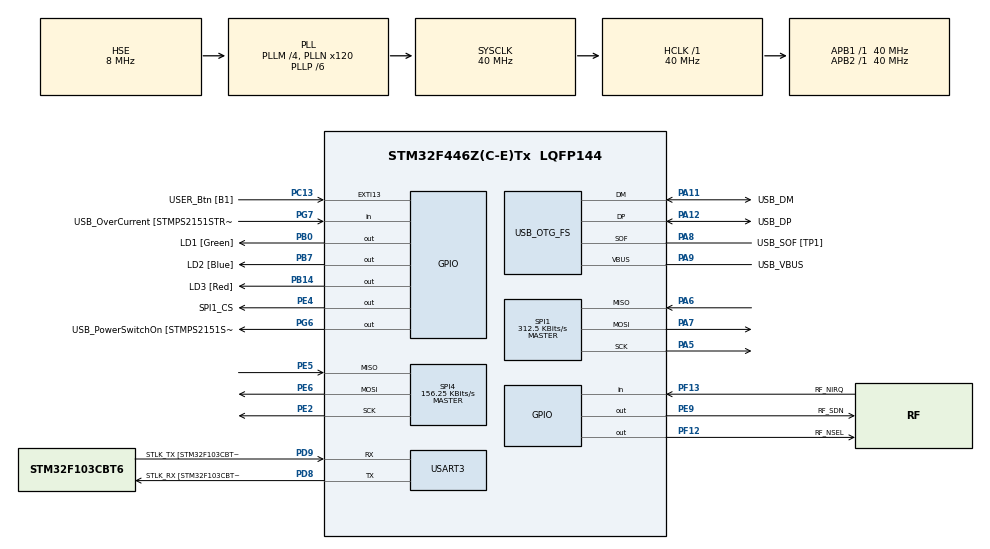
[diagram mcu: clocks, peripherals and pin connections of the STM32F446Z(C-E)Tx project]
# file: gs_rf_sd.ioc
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FATFS._USE_LFN=1
Mcu.Family=STM32F4
Mcu.Name=STM32F446Z(C-E)Tx
Mcu.Package=LQFP144
NVIC.PriorityGroup=NVIC_PRIORITYGROUP_4
PA10.GPIO_Label=USB_ID
PA10.Signal=USB_OTG_FS_ID
PA11.GPIO_Label=USB_DM
PA11.Mode=Device_Only
PA11.Signal=USB_OTG_FS_DM
PA12.GPIO_Label=USB_DP
PA12.Mode=Device_Only
PA12.Signal=USB_OTG_FS_DP
PA13.GPIO_Label=TMS
PA13.Mode=Serial_Wire
PA13.Signal=SYS_JTMS-SWDIO
PA14.GPIO_Label=TCK
PA14.Mode=Serial_Wire
PA14.Signal=SYS_JTCK-SWCLK
PA5.Mode=Full_Duplex_Master
PA5.Signal=SPI1_SCK
PA6.Mode=Full_Duplex_Master
PA6.Signal=SPI1_MISO
PA7.Mode=Full_Duplex_Master
PA7.Signal=SPI1_MOSI
PA8.GPIO_Label=USB_SOF [TP1]
PA8.Mode=Activate_SOF_FS
PA8.Signal=USB_OTG_FS_SOF
PA9.GPIO_Label=USB_VBUS
PA9.Mode=Activate_VBUS
PA9.Signal=USB_OTG_FS_VBUS
PB0.GPIO_Label=LD1 [Green]
PB0.Signal=GPIO_Output
PB14.GPIO_Label=LD3 [Red]
PB14.Signal=GPIO_Output
PB7.GPIO_Label=LD2 [Blue]
PB7.Signal=GPIO_Output
PC13.GPIO_Label=USER_Btn [B1]
PC13.Signal=GPXTI13
PC14-OSC32_IN.Mode=LSE-External-Oscillator
PC14-OSC32_IN.Signal=RCC_OSC32_IN
PC15-OSC32_OUT.Mode=LSE-External-Oscillator
PC15-OSC32_OUT.Signal=RCC_OSC32_OUT
PD8.GPIO_Label=STLK_RX [STM32F103CBT6_PA3]
PD8.Mode=Asynchronous
PD8.Signal=USART3_TX
PD9.GPIO_Label=STLK_TX [STM32F103CBT6_PA2]
PD9.Mode=Asynchronous
PD9.Signal=USART3_RX
PE2.Mode=Full_Duplex_Master
PE2.Signal=SPI4_SCK
PE4.GPIO_Label=SPI1_CS
PE4.Signal=GPIO_Output
PE5.Mode=Full_Duplex_Master
PE5.Signal=SPI4_MISO
PE6.Mode=Full_Duplex_Master
PE6.Signal=SPI4_MOSI
PE9.GPIO_Label=RF_SDN
PE9.Signal=GPIO_Output
PF12.GPIO_Label=RF_NSEL
PF12.GPIO_Speed=GPIO_SPEED_FREQ_HIGH
PF12.PinState=GPIO_PIN_SET
PF12.Signal=GPIO_Output
PF13.GPIO_Label=RF_NIRQ
PF13.GPIO_PuPd=GPIO_PULLUP
PF13.Signal=GPIO_Input
PG6.GPIO_Label=USB_PowerSwitchOn [STMPS2151STR_EN]
PG6.Signal=GPIO_Output
PG7.GPIO_Label=USB_OverCurrent [STMPS2151STR_FAULT]
PG7.Signal=GPIO_Input
PH0-OSC_IN.GPIO_Label=MCO [STM32F103CBT6_PA8]
PH0-OSC_IN.Mode=HSE-External-Clock-Source
PH0-OSC_IN.Signal=RCC_OSC_IN
PH1-OSC_OUT.Mode=HSE-External-Clock-Source
PH1-OSC_OUT.Signal=RCC_OSC_OUT
ProjectManager.HeapSize=0x200
ProjectManager.StackSize=0x400
ProjectManager.TargetToolchain=STM32CubeIDE
RCC.48MHZClocksFreq_Value=24000000
RCC.AHBFreq_Value=40000000
RCC.APB1Freq_Value=40000000
RCC.APB1TimFreq_Value=40000000
RCC.APB2Freq_Value=40000000
RCC.APB2TimFreq_Value=40000000
RCC.CortexFreq_Value=40000000
RCC.HCLKFreq_Value=40000000
RCC.HSE_VALUE=8000000
RCC.HSI_VALUE=16000000
RCC.PLLM=4
RCC.PLLMUL=RCC_PLL_MUL9
RCC.PLLN=120
RCC.PLLP=RCC_PLLP_DIV6
RCC.PLLQ=5
RCC.PRESCALERUSB=RCC_USBCLKSOURCE_PLL_DIV1_5
RCC.SYSCLKFreq_VALUE=40000000
RCC.SYSCLKSource=RCC_SYSCLKSOURCE_PLLCLK
RCC.SYSCLKSourceVirtual=RCC_SYSCLKSOURCE_PLLCLK
RCC.USBFreq_Value=48000000
RCC.VCOOutputFreq_Value=240000000
SPI1.BaudRatePrescaler=SPI_BAUDRATEPRESCALER_128
SPI1.CalculateBaudRate=312.5 KBits/s
SPI1.Direction=SPI_DIRECTION_2LINES
SPI1.Mode=SPI_MODE_MASTER
SPI1.VirtualType=VM_MASTER
SPI4.BaudRatePrescaler=SPI_BAUDRATEPRESCALER_256
SPI4.CalculateBaudRate=156.25 KBits/s
SPI4.Direction=SPI_DIRECTION_2LINES
SPI4.Mode=SPI_MODE_MASTER
SPI4.VirtualType=VM_MASTER
USART3.VirtualMode=VM_ASYNC
USB_OTG_FS.VirtualMode=Device_Only
VP_FATFS_VS_Generic.Mode=User_defined
board=NUCLEO-F446ZE

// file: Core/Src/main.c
/* USER CODE BEGIN Header */
/**
  ******************************************************************************
  * @file           : main.c
  * @brief          : Main program body
  ******************************************************************************
  * @attention
  *
  * Copyright (c) 2025 STMicroelectronics.
  * All rights reserved.
  *
  * This software is licensed under terms that can be found in the LICENSE file
  * in the root directory of this software component.
  * If no LICENSE file comes with this software, it is provided AS-IS.
  *
  ******************************************************************************
  */
/* USER CODE END Header */
#include "main.h"
#include "fatfs.h"

/* USER CODE BEGIN Includes */

#include "rf4463.h"
#include "debug_uart.h"
#include "ax25_protocol.h"
#include "receiver_app.h"

/* USER CODE END Includes */

/* USER CODE BEGIN PD */

UART_HandleTypeDef DEBUG_UART_HANDLE;

/* USER CODE END PD */

SPI_HandleTypeDef hspi1;
SPI_HandleTypeDef hspi4;

UART_HandleTypeDef huart3;

PCD_HandleTypeDef hpcd_USB_OTG_FS;

/* USER CODE BEGIN PV */

RF4463_HandleTypeDef hrf;

UART_HandleTypeDef DEBUG_UART_HANDLE;

/* USER CODE END PV */

void SystemClock_Config(void);
static void MX_GPIO_Init(void);
static void MX_USART3_UART_Init(void);
static void MX_USB_OTG_FS_PCD_Init(void);
static void MX_SPI1_Init(void);
static void MX_SPI4_Init(void);

int main(void)
{
  /* USER CODE BEGIN 1 */
  bool initialized = false;
  /* USER CODE END 1 */

  /* MCU Configuration--------------------------------------------------------*/

  /* Reset of all peripherals, Initializes the Flash interface and the Systick. */
  HAL_Init();

  /* Configure the system clock */
  SystemClock_Config();

  /* Initialize all configured peripherals */
  MX_GPIO_Init();
  MX_USART3_UART_Init();
  MX_USB_OTG_FS_PCD_Init();
  MX_SPI1_Init();
  MX_SPI4_Init();
  MX_FATFS_Init();
  /* USER CODE BEGIN 2 */

  DEBUG_UART_HANDLE = huart3;  // Change if using different UART

  // Enable debug prints
  debug_uart_set_enable(true);

  HAL_Delay(2000);  // Wait for serial monitor

  myprintf("\r\n~ SD card demo by kiwih ~\r\n\r\n");

  HAL_Delay(2000); //a short delay is important to let the SD card settle

  //some variables for FatFs
  FATFS FatFs; 	//Fatfs handle
  FIL fil; 		//File handle
  FRESULT fres; //Result after operations

  //Open the file system
  fres = f_mount(&FatFs, "", 1); //1=mount now
  if (fres != FR_OK) {
	myprintf("f_mount error (%i)\r\n", fres);
	//while(1);
  }

  //Let's get some statistics from the SD card
  DWORD free_clusters, free_sectors, total_sectors;

  FATFS* getFreeFs;

  fres = f_getfree("", &free_clusters, &getFreeFs);
  if (fres != FR_OK) {
	myprintf("f_getfree error (%i)\r\n", fres);
	//while(1);
  }

  //Formula comes from ChaN's documentation
  total_sectors = (getFreeFs->n_fatent - 2) * getFreeFs->csize;
  free_sectors = free_clusters * getFreeFs->csize;

  myprintf("SD card stats:\r\n%10lu KiB total drive space.\r\n%10lu KiB available.\r\n", total_sectors / 2, free_sectors / 2);
  HAL_Delay(1000);

  // ========== NOW YOUR RF MODULE CODE STARTS ==========
  myprintf("\r\n");
  myprintf("========================================\r\n");
  myprintf("    RF4463 STM32 Initialization\r\n");
  myprintf("========================================\r\n");
  myprintf("\r\n");

  /* Configure RF4463 handle with your pin definitions from main.h */
  hrf.hspi = &hspi1;                       // Your SPI instance (SPI1)
  hrf.nSEL_GPIO_Port = RF_NSEL_GPIO_Port;  // From main.h
  hrf.nSEL_Pin = RF_NSEL_Pin;              // From main.h
  hrf.sdn_GPIO_Port = RF_SDN_GPIO_Port;    // From main.h
  hrf.sdn_Pin = RF_SDN_Pin;                // From main.h
  hrf.nIRQ_GPIO_Port = RF_NIRQ_GPIO_Port;  // From main.h
  hrf.nIRQ_Pin = RF_NIRQ_Pin;              // From main.h

  // ============ ADD THIS DIAGNOSTIC CODE HERE ============
  myprintf("\r\n=== HARDWARE DIAGNOSTIC ===\r\n");

  /* 1. Check GPIO states */
  myprintf("\n1. GPIO Pin States:\n");
  myprintf("   RF_NSEL (PF%d): %d (debe ser 1)\n",
           RF_NSEL_Pin,
           HAL_GPIO_ReadPin(RF_NSEL_GPIO_Port, RF_NSEL_Pin));
  myprintf("   RF_SDN  (PE%d): %d (debe ser 0)\n",
           RF_SDN_Pin,
           HAL_GPIO_ReadPin(RF_SDN_GPIO_Port, RF_SDN_Pin));
  myprintf("   RF_NIRQ (PF%d): %d\n",
           RF_NIRQ_Pin,
           HAL_GPIO_ReadPin(RF_NIRQ_GPIO_Port, RF_NIRQ_Pin));

  /* 2. Test GPIO control */
  myprintf("\n2. Testing GPIO Control:\n");
  myprintf("   Toggling NSEL...\n");
  for(int i = 0; i < 3; i++) {
      HAL_GPIO_WritePin(RF_NSEL_GPIO_Port, RF_NSEL_Pin, GPIO_PIN_RESET);
      myprintf("      NSEL=0\n");
      HAL_Delay(50);
      HAL_GPIO_WritePin(RF_NSEL_GPIO_Port, RF_NSEL_Pin, GPIO_PIN_SET);
      myprintf("      NSEL=1\n");
      HAL_Delay(50);
  }

  /* 3. Test SPI - see what we get back */
  myprintf("\n3. SPI Communication Test:\n");
  myprintf("   Sending test bytes to RF4463...\n");

  HAL_GPIO_WritePin(RF_NSEL_GPIO_Port, RF_NSEL_Pin, GPIO_PIN_RESET);
  HAL_Delay(1);

  uint8_t test_pattern[] = {0xAA, 0x55, 0xF0, 0x0F};
  for(int i = 0; i < 4; i++) {
      uint8_t tx = test_pattern[i];
      uint8_t rx = 0x00;
      HAL_SPI_TransmitReceive(&hspi1, &tx, &rx, 1, HAL_MAX_DELAY);
      myprintf("      TX: 0x%02X -> RX: 0x%02X\n", tx, rx);
  }

  HAL_Delay(1);
  HAL_GPIO_WritePin(RF_NSEL_GPIO_Port, RF_NSEL_Pin, GPIO_PIN_SET);

  myprintf("\n   Interpretation:\n");
  myprintf("   - If RX is always 0xFF: Module not responding (power/connection)\n");
  myprintf("   - If RX is always 0x00: MISO not connected or wrong pin\n");
  myprintf("   - If RX varies: SPI working, continue to init\n");

  /* 4. Check which pins are actually configured */
  myprintf("\n4. Pin Configuration Check:\n");
  myprintf("   SPI1 Instance: %s\n", (hspi1.Instance == SPI1) ? "SPI1" : "ERROR");
  myprintf("   Expected pins:\n");
  myprintf("      SCK:  PE2 (verify in CubeMX)\n");
  myprintf("      MISO: PE5 (verify in CubeMX)\n");
  myprintf("      MOSI: PE6 (verify in CubeMX)\n");

  myprintf("\n=== END DIAGNOSTIC ===\n\n");
  HAL_Delay(1000);
  // ============ END DIAGNOSTIC CODE ============

  /* Initialize the radio - will print debug messages */
  if (RF4463_Init(&hrf)) {
      myprintf("\r\n*** INITIALIZATION SUCCESS ***\r\n");

      /* Set TX power to maximum */
      RF4463_SetTxPower(&hrf, 0x7F);

      /* Enter RX mode */
      myprintf("[RF4463] Entrando en modo RX...\r\n");
      if (RF4463_RxInit(&hrf)) {
          myprintf("[RF4463] Modo RX activo\r\n");
          myprintf("\r\n========================================\r\n");
          myprintf("    RF4463 READY - Sistema listo!\r\n");
          myprintf("========================================\r\n\r\n");
      } else {
          myprintf("[RF4463] ERROR: RX init fallo\r\n");
          Error_Handler();
      }
  } else {
      myprintf("\r\n*** INITIALIZATION FAILED ***\r\n");
      myprintf("Verifique:\r\n");
      myprintf("  - Conexiones SPI (MOSI, MISO, SCK)\r\n");
      myprintf("  - Pin NSEL (debe iniciar en HIGH)\r\n");
      myprintf("  - Pin SDN\r\n");
      myprintf("  - Alimentacion 3.3V\r\n");
      Error_Handler();
  }

  /* USER CODE END 2 */

  /* Infinite loop */
  while (1)
  {

    /* USER CODE BEGIN 3 */

	Receiver_Process(&rxContext);

	// Small delay to prevent tight loop
	HAL_Delay(10);
  }
  /* USER CODE END 3 */
}

void SystemClock_Config(void)
{
  RCC_OscInitTypeDef RCC_OscInitStruct = {0};
  RCC_ClkInitTypeDef RCC_ClkInitStruct = {0};

  /** Configure the main internal regulator output voltage
  */
  __HAL_RCC_PWR_CLK_ENABLE();
  __HAL_PWR_VOLTAGESCALING_CONFIG(PWR_REGULATOR_VOLTAGE_SCALE3);

  /** Initializes the RCC Oscillators according to the specified parameters
  * in the RCC_OscInitTypeDef structure.
  */
  RCC_OscInitStruct.OscillatorType = RCC_OSCILLATORTYPE_HSE;
  RCC_OscInitStruct.HSEState = RCC_HSE_BYPASS;
  RCC_OscInitStruct.PLL.PLLState = RCC_PLL_ON;
  RCC_OscInitStruct.PLL.PLLSource = RCC_PLLSOURCE_HSE;
  RCC_OscInitStruct.PLL.PLLM = 4;
  RCC_OscInitStruct.PLL.PLLN = 120;
  RCC_OscInitStruct.PLL.PLLP = RCC_PLLP_DIV6;
  RCC_OscInitStruct.PLL.PLLQ = 5;
  RCC_OscInitStruct.PLL.PLLR = 2;
  if (HAL_RCC_OscConfig(&RCC_OscInitStruct) != HAL_OK)
  {
    Error_Handler();
  }

  /** Initializes the CPU, AHB and APB buses clocks
  */
  RCC_ClkInitStruct.ClockType = RCC_CLOCKTYPE_HCLK|RCC_CLOCKTYPE_SYSCLK
                              |RCC_CLOCKTYPE_PCLK1|RCC_CLOCKTYPE_PCLK2;
  RCC_ClkInitStruct.SYSCLKSource = RCC_SYSCLKSOURCE_PLLCLK;
  RCC_ClkInitStruct.AHBCLKDivider = RCC_SYSCLK_DIV1;
  RCC_ClkInitStruct.APB1CLKDivider = RCC_HCLK_DIV1;
  RCC_ClkInitStruct.APB2CLKDivider = RCC_HCLK_DIV1;

  if (HAL_RCC_ClockConfig(&RCC_ClkInitStruct, FLASH_LATENCY_1) != HAL_OK)
  {
    Error_Handler();
  }
}

static void MX_SPI1_Init(void)
{

  /* SPI1 parameter configuration*/
  hspi1.Instance = SPI1;
  hspi1.Init.Mode = SPI_MODE_MASTER;
  hspi1.Init.Direction = SPI_DIRECTION_2LINES;
  hspi1.Init.DataSize = SPI_DATASIZE_8BIT;
  hspi1.Init.CLKPolarity = SPI_POLARITY_LOW;
  hspi1.Init.CLKPhase = SPI_PHASE_1EDGE;
  hspi1.Init.NSS = SPI_NSS_SOFT;
  hspi1.Init.BaudRatePrescaler = SPI_BAUDRATEPRESCALER_128;
  hspi1.Init.FirstBit = SPI_FIRSTBIT_MSB;
  hspi1.Init.TIMode = SPI_TIMODE_DISABLE;
  hspi1.Init.CRCCalculation = SPI_CRCCALCULATION_DISABLE;
  hspi1.Init.CRCPolynomial = 10;
  if (HAL_SPI_Init(&hspi1) != HAL_OK)
  {
    Error_Handler();
  }

}

static void MX_SPI4_Init(void)
{

  /* SPI4 parameter configuration*/
  hspi4.Instance = SPI4;
  hspi4.Init.Mode = SPI_MODE_MASTER;
  hspi4.Init.Direction = SPI_DIRECTION_2LINES;
  hspi4.Init.DataSize = SPI_DATASIZE_8BIT;
  hspi4.Init.CLKPolarity = SPI_POLARITY_LOW;
  hspi4.Init.CLKPhase = SPI_PHASE_1EDGE;
  hspi4.Init.NSS = SPI_NSS_SOFT;
  hspi4.Init.BaudRatePrescaler = SPI_BAUDRATEPRESCALER_256;
  hspi4.Init.FirstBit = SPI_FIRSTBIT_MSB;
  hspi4.Init.TIMode = SPI_TIMODE_DISABLE;
  hspi4.Init.CRCCalculation = SPI_CRCCALCULATION_DISABLE;
  hspi4.Init.CRCPolynomial = 10;
  if (HAL_SPI_Init(&hspi4) != HAL_OK)
  {
    Error_Handler();
  }

}

static void MX_USART3_UART_Init(void)
{

  huart3.Instance = USART3;
  huart3.Init.BaudRate = 115200;
  huart3.Init.WordLength = UART_WORDLENGTH_8B;
  huart3.Init.StopBits = UART_STOPBITS_1;
  huart3.Init.Parity = UART_PARITY_NONE;
  huart3.Init.Mode = UART_MODE_TX_RX;
  huart3.Init.HwFlowCtl = UART_HWCONTROL_NONE;
  huart3.Init.OverSampling = UART_OVERSAMPLING_16;
  if (HAL_UART_Init(&huart3) != HAL_OK)
  {
    Error_Handler();
  }

}

static void MX_USB_OTG_FS_PCD_Init(void)
{

  hpcd_USB_OTG_FS.Instance = USB_OTG_FS;
  hpcd_USB_OTG_FS.Init.dev_endpoints = 6;
  hpcd_USB_OTG_FS.Init.speed = PCD_SPEED_FULL;
  hpcd_USB_OTG_FS.Init.dma_enable = DISABLE;
  hpcd_USB_OTG_FS.Init.phy_itface = PCD_PHY_EMBEDDED;
  hpcd_USB_OTG_FS.Init.Sof_enable = ENABLE;
  hpcd_USB_OTG_FS.Init.low_power_enable = DISABLE;
  hpcd_USB_OTG_FS.Init.lpm_enable = DISABLE;
  hpcd_USB_OTG_FS.Init.vbus_sensing_enable = ENABLE;
  hpcd_USB_OTG_FS.Init.use_dedicated_ep1 = DISABLE;
  if (HAL_PCD_Init(&hpcd_USB_OTG_FS) != HAL_OK)
  {
    Error_Handler();
  }

}

static void MX_GPIO_Init(void)
{
  GPIO_InitTypeDef GPIO_InitStruct = {0};

  /* GPIO Ports Clock Enable */
  __HAL_RCC_GPIOE_CLK_ENABLE();
  __HAL_RCC_GPIOC_CLK_ENABLE();
  __HAL_RCC_GPIOH_CLK_ENABLE();
  __HAL_RCC_GPIOA_CLK_ENABLE();
  __HAL_RCC_GPIOB_CLK_ENABLE();
  __HAL_RCC_GPIOF_CLK_ENABLE();
  __HAL_RCC_GPIOD_CLK_ENABLE();
  __HAL_RCC_GPIOG_CLK_ENABLE();

  /*Configure GPIO pin Output Level */
  HAL_GPIO_WritePin(GPIOE, SPI1_CS_Pin|RF_SDN_Pin, GPIO_PIN_RESET);

  /*Configure GPIO pin Output Level */
  HAL_GPIO_WritePin(GPIOB, LD1_Pin|LD3_Pin|LD2_Pin, GPIO_PIN_RESET);

  /*Configure GPIO pin Output Level */
  HAL_GPIO_WritePin(RF_NSEL_GPIO_Port, RF_NSEL_Pin, GPIO_PIN_SET);

  /*Configure GPIO pin Output Level */
  HAL_GPIO_WritePin(USB_PowerSwitchOn_GPIO_Port, USB_PowerSwitchOn_Pin, GPIO_PIN_RESET);

  /*Configure GPIO pins : SPI1_CS_Pin RF_SDN_Pin */
  GPIO_InitStruct.Pin = SPI1_CS_Pin|RF_SDN_Pin;
  GPIO_InitStruct.Mode = GPIO_MODE_OUTPUT_PP;
  GPIO_InitStruct.Pull = GPIO_NOPULL;
  GPIO_InitStruct.Speed = GPIO_SPEED_FREQ_LOW;
  HAL_GPIO_Init(GPIOE, &GPIO_InitStruct);

  /*Configure GPIO pin : USER_Btn_Pin */
  GPIO_InitStruct.Pin = USER_Btn_Pin;
  GPIO_InitStruct.Mode = GPIO_MODE_IT_RISING;
  GPIO_InitStruct.Pull = GPIO_NOPULL;
  HAL_GPIO_Init(USER_Btn_GPIO_Port, &GPIO_InitStruct);

  /*Configure GPIO pins : LD1_Pin LD3_Pin LD2_Pin */
  GPIO_InitStruct.Pin = LD1_Pin|LD3_Pin|LD2_Pin;
  GPIO_InitStruct.Mode = GPIO_MODE_OUTPUT_PP;
  GPIO_InitStruct.Pull = GPIO_NOPULL;
  GPIO_InitStruct.Speed = GPIO_SPEED_FREQ_LOW;
  HAL_GPIO_Init(GPIOB, &GPIO_InitStruct);

  /*Configure GPIO pin : RF_NSEL_Pin */
  GPIO_InitStruct.Pin = RF_NSEL_Pin;
  GPIO_InitStruct.Mode = GPIO_MODE_OUTPUT_PP;
  GPIO_InitStruct.Pull = GPIO_NOPULL;
  GPIO_InitStruct.Speed = GPIO_SPEED_FREQ_HIGH;
  HAL_GPIO_Init(RF_NSEL_GPIO_Port, &GPIO_InitStruct);

  /*Configure GPIO pin : RF_NIRQ_Pin */
  GPIO_InitStruct.Pin = RF_NIRQ_Pin;
  GPIO_InitStruct.Mode = GPIO_MODE_INPUT;
  GPIO_InitStruct.Pull = GPIO_PULLUP;
  HAL_GPIO_Init(RF_NIRQ_GPIO_Port, &GPIO_InitStruct);

  /*Configure GPIO pin : USB_PowerSwitchOn_Pin */
  GPIO_InitStruct.Pin = USB_PowerSwitchOn_Pin;
  GPIO_InitStruct.Mode = GPIO_MODE_OUTPUT_PP;
  GPIO_InitStruct.Pull = GPIO_NOPULL;
  GPIO_InitStruct.Speed = GPIO_SPEED_FREQ_LOW;
  HAL_GPIO_Init(USB_PowerSwitchOn_GPIO_Port, &GPIO_InitStruct);

  /*Configure GPIO pin : USB_OverCurrent_Pin */
  GPIO_InitStruct.Pin = USB_OverCurrent_Pin;
  GPIO_InitStruct.Mode = GPIO_MODE_INPUT;
  GPIO_InitStruct.Pull = GPIO_NOPULL;
  HAL_GPIO_Init(USB_OverCurrent_GPIO_Port, &GPIO_InitStruct);

}

void Error_Handler(void)
{
  __disable_irq();
  while (1)
  {
  }
}
